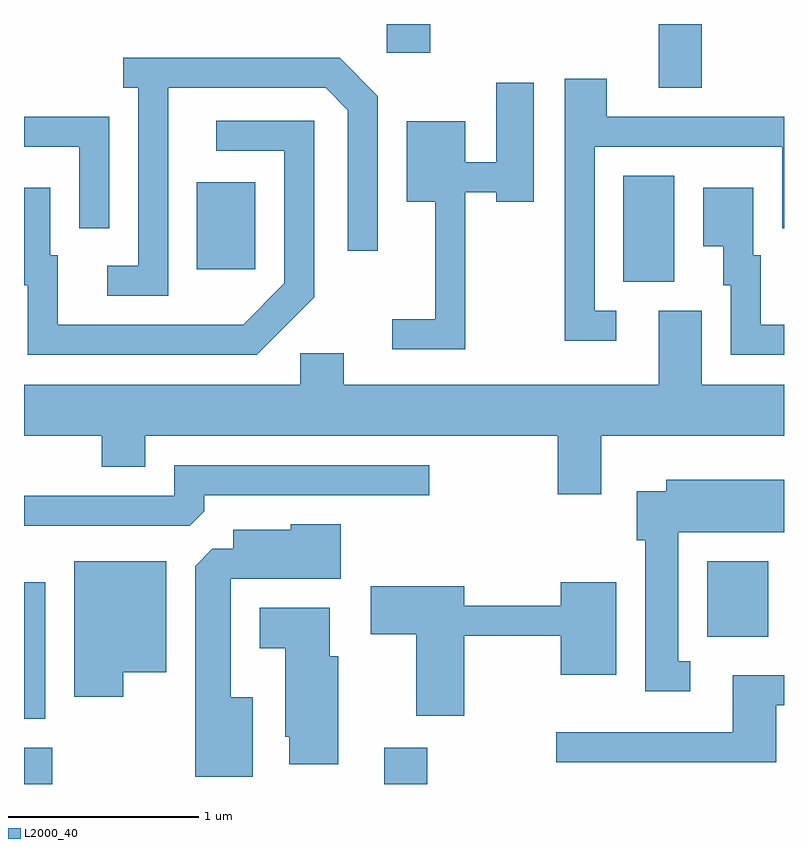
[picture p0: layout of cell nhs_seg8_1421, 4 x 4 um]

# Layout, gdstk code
import gdstk
lib = gdstk.Library(unit=1e-6, precision=1e-09)
def R(c, l, rs):  # rectangles x0, y0, x1, y1
    for r in rs: c.add(gdstk.rectangle(r[:2], r[2:], *l))
def P(c, l, *ps):  # polygons
    for p in ps: c.add(gdstk.Polygon(p, *l))
L2000_40 = (2000, 40)

nhs_seg8_1421 = lib.new_cell('nhs_seg8_1421')
R(nhs_seg8_1421, L2000_40, [(227.611,1852.342,227.759,1852.534), (229.506,1852.342,229.734,1852.534), (227.611,1852.686,227.724,1853.404), (231.206,1853.116,231.529,1853.514), (230.766,1854.986,231.034,1855.544), (228.521,1855.051,228.829,1855.509), (230.951,1856.006,231.179,1856.342), (229.521,1856.191,229.749,1856.342)])
P(nhs_seg8_1421, L2000_40, [(228.369,1856.006),(229.199,1856.006),(229.316,1855.889),(229.316,1855.148),(229.474,1855.148),(229.474,1855.962),(229.272,1856.164),(228.133,1856.164),(228.133,1856.006),(228.211,1856.006),(228.211,1855.069),(228.048,1855.069),(228.048,1854.911),(228.369,1854.911)],
  [(230.728,1854.834),(230.614,1854.834),(230.614,1855.696),(231.601,1855.696),(231.601,1855.268),(231.611,1855.268),(231.611,1855.854),(230.679,1855.854),(230.679,1856.054),(230.456,1856.054),(230.456,1854.676),(230.728,1854.676)],
  [(229.934,1855.456),(230.096,1855.456),(230.096,1855.406),(230.294,1855.406),(230.294,1856.034),(230.096,1856.034),(230.096,1855.614),(229.934,1855.614),(229.934,1855.829),(229.626,1855.829),(229.626,1855.406),(229.776,1855.406),(229.776,1854.789),(229.548,1854.789),(229.548,1854.631),(229.934,1854.631)],
  [(228.059,1855.854),(227.611,1855.854),(227.611,1855.696),(227.901,1855.696),(227.901,1855.268),(228.059,1855.268)],
  [(229.139,1854.904),(229.139,1855.834),(228.623,1855.834),(228.623,1855.676),(228.981,1855.676),(228.981,1854.977),(228.764,1854.759),(227.789,1854.759),(227.789,1855.124),(227.749,1855.124),(227.749,1855.479),(227.611,1855.479),(227.611,1854.966),(227.631,1854.966),(227.631,1854.601),(228.837,1854.601)],
  [(231.611,1854.759),(231.489,1854.759),(231.489,1855.124),(231.449,1855.124),(231.449,1855.479),(231.186,1855.479),(231.186,1855.171),(231.291,1855.171),(231.291,1854.966),(231.331,1854.966),(231.331,1854.601),(231.611,1854.601)],
  [(230.649,1854.176),(231.611,1854.176),(231.611,1854.444),(231.179,1854.444),(231.179,1854.834),(230.951,1854.834),(230.951,1854.444),(229.294,1854.444),(229.294,1854.609),(229.066,1854.609),(229.066,1854.444),(227.611,1854.444),(227.611,1854.176),(228.021,1854.176),(228.021,1854.011),(228.249,1854.011),(228.249,1854.176),(230.421,1854.176),(230.421,1853.866),(230.649,1853.866)],
  [(228.559,1853.777),(228.559,1853.861),(229.743,1853.861),(229.743,1854.019),(228.401,1854.019),(228.401,1853.859),(227.611,1853.859),(227.611,1853.701),(228.484,1853.701)],
  [(231.118,1852.989),(231.054,1852.989),(231.054,1853.666),(231.611,1853.666),(231.611,1853.944),(230.991,1853.944),(230.991,1853.884),(230.836,1853.884),(230.836,1853.626),(230.881,1853.626),(230.881,1852.831),(231.118,1852.831)],
  [(228.814,1852.799),(228.699,1852.799),(228.699,1853.421),(229.279,1853.421),(229.279,1853.709),(229.016,1853.709),(229.016,1853.679),(228.711,1853.679),(228.711,1853.579),(228.602,1853.579),(228.511,1853.489),(228.511,1852.381),(228.814,1852.381)],
  [(228.134,1852.931),(228.359,1852.931),(228.359,1853.514),(227.876,1853.514),(227.876,1852.801),(228.134,1852.801)],
  [(229.929,1853.121),(230.436,1853.121),(230.436,1852.916),(230.729,1852.916),(230.729,1853.404),(230.436,1853.404),(230.436,1853.279),(229.929,1853.279),(229.929,1853.384),(229.436,1853.384),(229.436,1853.131),(229.676,1853.131),(229.676,1852.701),(229.929,1852.701)],
  [(229.264,1853.014),(229.219,1853.014),(229.219,1853.269),(228.851,1853.269),(228.851,1853.056),(228.986,1853.056),(228.986,1852.591),(229.006,1852.591),(229.006,1852.446),(229.264,1852.446)],
  [(231.569,1852.756),(231.611,1852.756),(231.611,1852.914),(231.341,1852.914),(231.341,1852.614),(230.413,1852.614),(230.413,1852.456),(231.569,1852.456)])

lib.write_gds('nhs_seg8_1421.gds')
